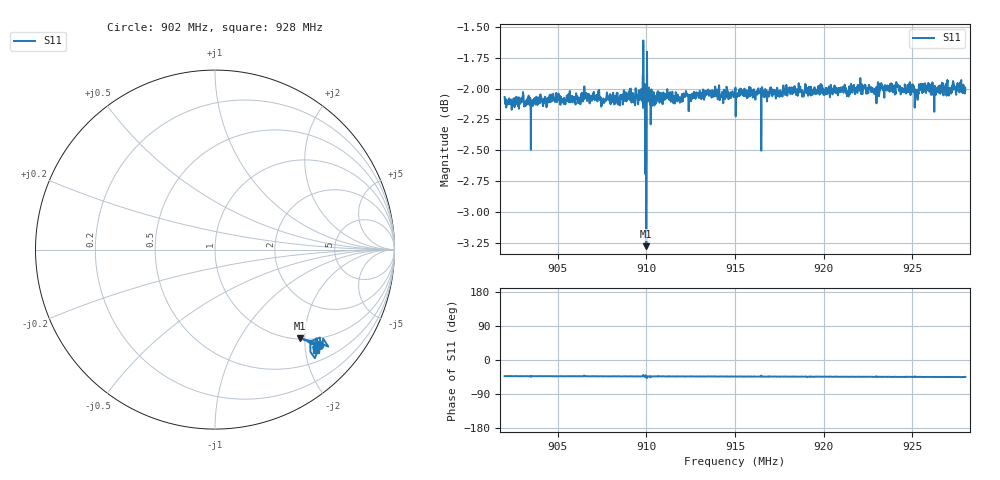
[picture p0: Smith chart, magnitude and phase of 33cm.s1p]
! Calibrated averaged scanner-service zoom
# Hz S RI R 50
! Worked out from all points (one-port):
!   2001 points, 902 MHz to 928 MHz, reference 50 ohm
!   lowest |S11| = -3.3 dB at 910 MHz (marker M1), VSWR 5.36, Z = 51.1 - j95.2 ohm
!   |S11| at or under -10 dB: nowhere
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9.02e8  0.5801 -0.5336
9.03482e8  0.5365 -0.5244
9.0525e8  0.5787 -0.5319
9.06108e8  0.5787 -0.533
9.06602e8  0.577 -0.5374
9.07564e8  0.5754 -0.5345
9.085e8  0.5693 -0.5374
9.09644e8  0.5764 -0.5422
9.09774e8  0.5776 -0.5445
9.09852e8  0.5772 -0.539
9.09878e8  0.5778 -0.5327
9.09995e8  0.4756 -0.4938
9.10086e8  0.5714 -0.5386
9.10125e8  0.5707 -0.5415
9.10151e8  0.5775 -0.5434
9.1019e8  0.5825 -0.5365
9.10463e8  0.5701 -0.5372
9.1175e8  0.5719 -0.5381
9.13531e8  0.5743 -0.541
9.15e8  0.5714 -0.545
9.1825e8  0.5699 -0.5479
9.215e8  0.5684 -0.5543
9.2475e8  0.5662 -0.5579
9.25231e8  0.559 -0.5559
9.25621e8  0.5639 -0.5641
9.26349e8  0.564 -0.5598
9.27714e8  0.5687 -0.5614
9.28e8  0.5643 -0.5577
